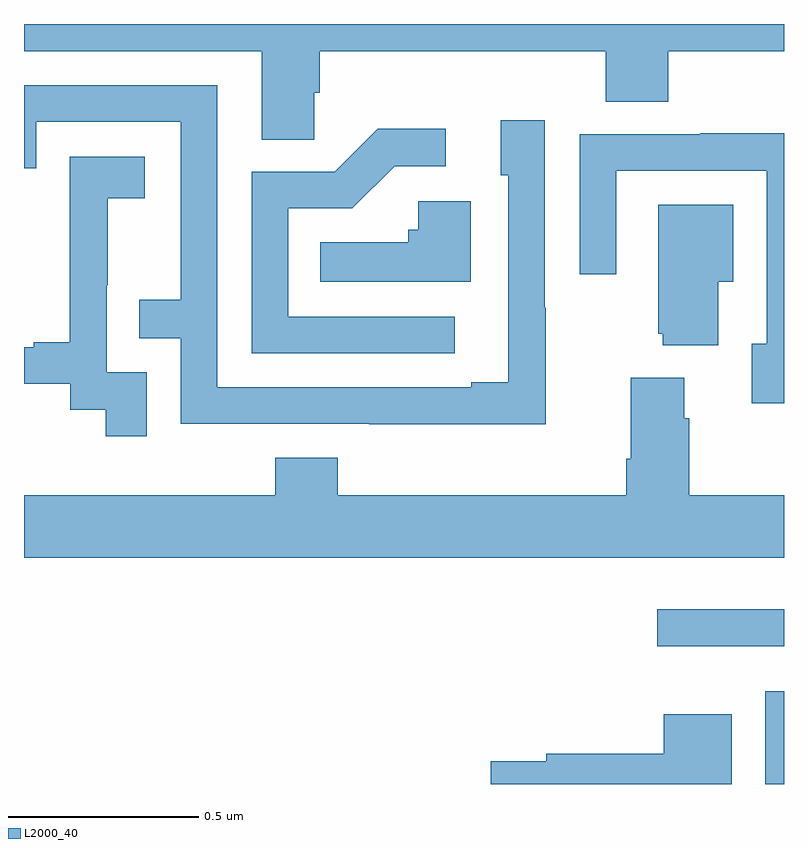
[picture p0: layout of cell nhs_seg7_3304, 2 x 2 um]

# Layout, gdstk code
import gdstk
lib = gdstk.Library(unit=1e-6, precision=1e-09)
def R(c, l, rs):  # rectangles x0, y0, x1, y1
    for r in rs: c.add(gdstk.rectangle(r[:2], r[2:], *l))
def P(c, l, *ps):  # polygons
    for p in ps: c.add(gdstk.Polygon(p, *l))
L2000_40 = (2000, 40)

nhs_seg7_3304 = lib.new_cell('nhs_seg7_3304')
R(nhs_seg7_3304, L2000_40, [(158.951,1020,159,1020.244), (158.667,1020.363,159,1020.46)])
P(nhs_seg7_3304, L2000_40, [(157.764,1021.819),(157.778,1021.819),(157.778,1021.928),(158.531,1021.928),(158.531,1021.795),(158.696,1021.795),(158.696,1021.928),(159,1021.928),(159,1022),(157,1022),(157,1021.928),(157.625,1021.928),(157.625,1021.696),(157.764,1021.696)],
  [(158.373,1021.253),(158.37,1021.253),(158.37,1021.747),(158.255,1021.747),(158.255,1021.602),(158.274,1021.602),(158.274,1021.057),(158.177,1021.057),(158.177,1021.044),(157.509,1021.044),(157.509,1021.839),(157,1021.839),(157,1021.62),(157.032,1021.62),(157.032,1021.743),(157.413,1021.743),(157.413,1021.274),(157.303,1021.274),(157.303,1021.173),(157.413,1021.173),(157.413,1020.948),(157.909,1020.948),(157.909,1020.947),(158.373,1020.947)],
  [(158.134,1021.23),(157.695,1021.23),(157.695,1021.515),(157.864,1021.515),(157.975,1021.626),(158.11,1021.626),(158.11,1021.724),(157.931,1021.724),(157.818,1021.611),(157.599,1021.611),(157.599,1021.134),(158.134,1021.134)],
  [(159,1021.712),(158.779,1021.712),(158.779,1021.71),(158.463,1021.71),(158.463,1021.341),(158.559,1021.341),(158.559,1021.614),(158.955,1021.614),(158.955,1021.158),(158.915,1021.158),(158.915,1021.002),(159,1021.002)],
  [(157.323,1021.083),(157.218,1021.083),(157.218,1021.313),(157.22,1021.313),(157.22,1021.541),(157.318,1021.541),(157.318,1021.651),(157.12,1021.651),(157.12,1021.445),(157.121,1021.445),(157.121,1021.162),(157.025,1021.162),(157.025,1021.149),(157,1021.149),(157,1021.053),(157.122,1021.053),(157.122,1020.985),(157.215,1020.985),(157.215,1020.915),(157.323,1020.915)],
  [(158.176,1021.534),(158.037,1021.534),(158.037,1021.458),(158.011,1021.458),(158.011,1021.426),(157.78,1021.426),(157.78,1021.322),(158.176,1021.322)],
  [(158.827,1021.322),(158.866,1021.322),(158.866,1021.525),(158.669,1021.525),(158.669,1021.185),(158.681,1021.185),(158.681,1021.154),(158.827,1021.154)],
  [(159,1020.76),(158.75,1020.76),(158.75,1020.962),(158.737,1020.962),(158.737,1021.069),(158.597,1021.069),(158.597,1020.856),(158.585,1020.856),(158.585,1020.76),(157.826,1020.76),(157.826,1020.859),(157.661,1020.859),(157.661,1020.76),(157,1020.76),(157,1020.596),(159,1020.596)],
  [(158.863,1020.184),(158.684,1020.184),(158.684,1020.08),(158.374,1020.08),(158.374,1020.06),(158.228,1020.06),(158.228,1020),(158.863,1020)])

lib.write_gds('nhs_seg7_3304.gds')
